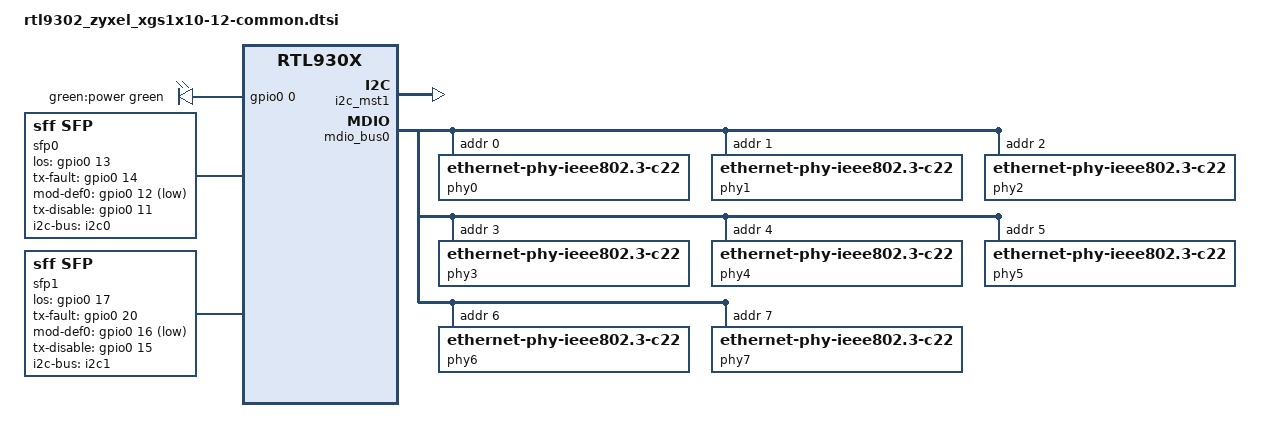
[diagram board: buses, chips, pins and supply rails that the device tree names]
// SPDX-License-Identifier: GPL-2.0-or-later
/dts-v1/;

#include "rtl930x.dtsi"

#include <dt-bindings/input/input.h>
#include <dt-bindings/gpio/gpio.h>
#include <dt-bindings/leds/common.h>

/ {
	aliases {
		led-boot = &led_pwr_sys;
		led-failsafe = &led_pwr_sys;
		led-running = &led_pwr_sys;
		led-upgrade = &led_pwr_sys;
	};

	leds {
		compatible = "gpio-leds";

		pinctrl-names = "default";
		pinctrl-0 = <&pinmux_disable_sys_led>;

		led_pwr_sys: led-0 {
			label = "green:power";
			color = <LED_COLOR_ID_GREEN>;
			function = LED_FUNCTION_POWER;
			gpios = <&gpio0 0 GPIO_ACTIVE_HIGH>;
		};
	};

	sfp0: sfp-p11 {
		compatible = "sff,sfp";
		i2c-bus = <&i2c0>;
		los-gpio = <&gpio0 13 GPIO_ACTIVE_HIGH>;
		tx-fault-gpio = <&gpio0 14 GPIO_ACTIVE_HIGH>;
		mod-def0-gpio = <&gpio0 12 GPIO_ACTIVE_LOW>;
		tx-disable-gpio = <&gpio0 11 GPIO_ACTIVE_HIGH>;
	};

	sfp1: sfp-p12 {
		compatible = "sff,sfp";
		i2c-bus = <&i2c1>;
		los-gpio = <&gpio0 17 GPIO_ACTIVE_HIGH>;
		tx-fault-gpio = <&gpio0 20 GPIO_ACTIVE_HIGH>;
		mod-def0-gpio = <&gpio0 16 GPIO_ACTIVE_LOW>;
		tx-disable-gpio = <&gpio0 15 GPIO_ACTIVE_HIGH>;
	};

	led_set: led_set {
		compatible = "realtek,rtl9300-leds";
		active-low;

		/* [Green] [Amber] */
		led_set0 = <(RTL93XX_LED_SET_1G | RTL93XX_LED_SET_LINK | RTL93XX_LED_SET_ACT)
			    (RTL93XX_LED_SET_100M | RTL93XX_LED_SET_10M | RTL93XX_LED_SET_LINK |
			     RTL93XX_LED_SET_ACT)>;

		/* [Amber] [Lime] [Green] [Blue] */
		led_set1 = <(RTL93XX_LED_SET_100M | RTL93XX_LED_SET_10M | RTL93XX_LED_SET_LINK |
			     RTL93XX_LED_SET_ACT)
			    (RTL93XX_LED_SET_1G | RTL93XX_LED_SET_LINK | RTL93XX_LED_SET_ACT)
			    (RTL93XX_LED_SET_2P5G | RTL93XX_LED_SET_LINK | RTL93XX_LED_SET_ACT)
			    (RTL93XX_LED_SET_2P5G | RTL93XX_LED_SET_LINK | RTL93XX_LED_SET_ACT)>;

		/* [Lime] [Blue] */
		led_set2 = <(RTL93XX_LED_SET_5G | RTL93XX_LED_SET_2P5G | RTL93XX_LED_SET_1G |
			     RTL93XX_LED_SET_LINK | RTL93XX_LED_SET_ACT)
			    (RTL93XX_LED_SET_10G | RTL93XX_LED_SET_5G | RTL93XX_LED_SET_2P5G |
			     RTL93XX_LED_SET_LINK | RTL93XX_LED_SET_ACT)>;
	};
};

&i2c_mst1 {
	status = "okay";

	/* i2c of the left SFP+ cage seen from the front; port 11 */
	i2c0: i2c@0 {
		reg = <0>;
	};

	/* i2c of the right SFP+ cage seen from the front; port 12 */
	i2c1: i2c@1 {
		reg = <1>;
	};
};

&mdio_bus0 {
	/* External RTL8218D PHY */
	phy0: ethernet-phy@0 {
		reg = <0>;
		compatible = "ethernet-phy-ieee802.3-c22";
		// Disabled because we do not know how to bring up again
		// reset-gpios = <&gpio0 21 GPIO_ACTIVE_LOW>;
	};
	phy1: ethernet-phy@1 {
		reg = <1>;
		compatible = "ethernet-phy-ieee802.3-c22";
	};
	phy2: ethernet-phy@2 {
		reg = <2>;
		compatible = "ethernet-phy-ieee802.3-c22";
	};
	phy3: ethernet-phy@3 {
		reg = <3>;
		compatible = "ethernet-phy-ieee802.3-c22";
	};
	phy4: ethernet-phy@4 {
		reg = <4>;
		compatible = "ethernet-phy-ieee802.3-c22";
	};
	phy5: ethernet-phy@5 {
		reg = <5>;
		compatible = "ethernet-phy-ieee802.3-c22";
	};
	phy6: ethernet-phy@6 {
		reg = <6>;
		compatible = "ethernet-phy-ieee802.3-c22";
	};
	phy7: ethernet-phy@7 {
		reg = <7>;
		compatible = "ethernet-phy-ieee802.3-c22";
	};
};

&switch0 {
	ethernet-ports {
		#address-cells = <1>;
		#size-cells = <0>;

		SWITCH_PORT_LED(0, 1, 2, 0, usxgmii)
		SWITCH_PORT_LED(1, 2, 2, 0, usxgmii)
		SWITCH_PORT_LED(2, 3, 2, 0, usxgmii)
		SWITCH_PORT_LED(3, 4, 2, 0, usxgmii)
		SWITCH_PORT_LED(4, 5, 2, 0, usxgmii)
		SWITCH_PORT_LED(5, 6, 2, 0, usxgmii)
		SWITCH_PORT_LED(6, 7, 2, 0, usxgmii)
		SWITCH_PORT_LED(7, 8, 2, 0, usxgmii)

		port@24 {
			reg = <24>;
			label = "lan9";
			pcs-handle = <&serdes6>;
			phy-handle = <&phy24>;
			phy-mode = "sgmii";
			led-set = <1>;
			managed = "in-band-status";
		};
		port@25 {
			reg = <25>;
			label = "lan10";
			pcs-handle = <&serdes7>;
			phy-handle = <&phy25>;
			phy-mode = "sgmii";
			led-set = <1>;
			managed = "in-band-status";
		};

		SWITCH_PORT_SFP(26, 11, 8, 2, 0)
		SWITCH_PORT_SFP(27, 12, 9, 2, 1)

		port@28 {
			ethernet = <&ethernet0>;
			reg = <28>;
			phy-mode = "internal";
			fixed-link {
				speed = <1000>;
				full-duplex;
			};
		};
	};
};
